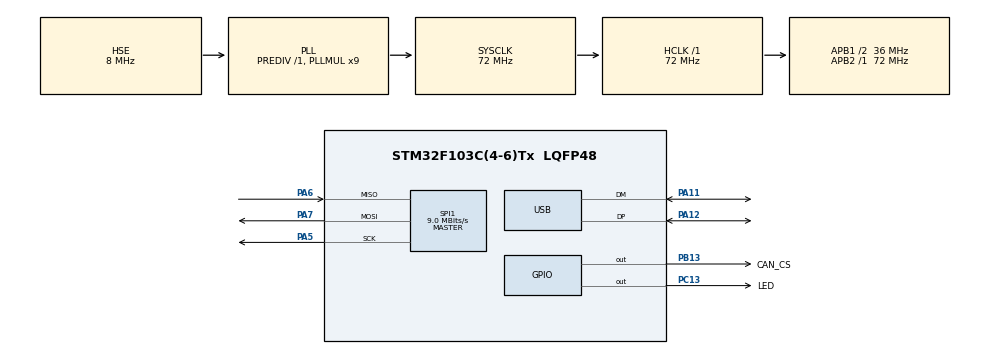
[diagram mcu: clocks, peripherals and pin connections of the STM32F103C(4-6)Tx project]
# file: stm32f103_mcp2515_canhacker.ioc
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Mcu.Family=STM32F1
Mcu.Name=STM32F103C(4-6)Tx
Mcu.Package=LQFP48
NVIC.PriorityGroup=NVIC_PRIORITYGROUP_4
NVIC.USB_LP_CAN1_RX0_IRQn=true\:0\:0\:false\:false\:true\:false\:true\:true
PA11.Mode=Device
PA11.Signal=USB_DM
PA12.Mode=Device
PA12.Signal=USB_DP
PA13.Mode=Serial_Wire
PA13.Signal=SYS_JTMS-SWDIO
PA14.Mode=Serial_Wire
PA14.Signal=SYS_JTCK-SWCLK
PA5.Mode=Full_Duplex_Master
PA5.Signal=SPI1_SCK
PA6.Mode=Full_Duplex_Master
PA6.Signal=SPI1_MISO
PA7.Mode=Full_Duplex_Master
PA7.Signal=SPI1_MOSI
PB13.GPIO_Label=CAN_CS
PB13.GPIO_Speed=GPIO_SPEED_FREQ_HIGH
PB13.Signal=GPIO_Output
PC13-TAMPER-RTC.GPIO_Label=LED
PC13-TAMPER-RTC.Signal=GPIO_Output
PD0-OSC_IN.Mode=HSE-External-Oscillator
PD0-OSC_IN.Signal=RCC_OSC_IN
PD1-OSC_OUT.Mode=HSE-External-Oscillator
PD1-OSC_OUT.Signal=RCC_OSC_OUT
ProjectManager.HeapSize=0x200
ProjectManager.StackSize=0x400
ProjectManager.TargetToolchain=MDK-ARM V5.32
RCC.AHBFreq_Value=72000000
RCC.APB1CLKDivider=RCC_HCLK_DIV2
RCC.APB1Freq_Value=36000000
RCC.APB1TimFreq_Value=72000000
RCC.APB2Freq_Value=72000000
RCC.APB2TimFreq_Value=72000000
RCC.HCLKFreq_Value=72000000
RCC.PLLMUL=RCC_PLL_MUL9
RCC.PLLSourceVirtual=RCC_PLLSOURCE_HSE
RCC.SYSCLKFreq_VALUE=72000000
RCC.SYSCLKSource=RCC_SYSCLKSOURCE_PLLCLK
RCC.USBFreq_Value=48000000
RCC.USBPrescaler=RCC_USBCLKSOURCE_PLL_DIV1_5
SPI1.BaudRatePrescaler=SPI_BAUDRATEPRESCALER_8
SPI1.CLKPolarity=SPI_POLARITY_LOW
SPI1.CalculateBaudRate=9.0 MBits/s
SPI1.Direction=SPI_DIRECTION_2LINES
SPI1.Mode=SPI_MODE_MASTER
SPI1.VirtualType=VM_MASTER
USB_DEVICE.APP_RX_DATA_SIZE=128
USB_DEVICE.APP_TX_DATA_SIZE=128
USB_DEVICE.CLASS_NAME_FS=CDC
USB_DEVICE.CONFIGURATION_STRING_CDC_FS=stm32+mcp2515-CanHacker
USB_DEVICE.INTERFACE_STRING_CDC_FS=stm32+mcp2515-CanHacker
USB_DEVICE.MANUFACTURER_STRING=stm32+mcp2515-CanHacker
USB_DEVICE.PID_CDC_FS=22336
USB_DEVICE.PRODUCT_STRING_CDC_FS=stm32+mcp2515-CanHacker
USB_DEVICE.USBD_SELF_POWERED=0
USB_DEVICE.VirtualMode=Cdc
USB_DEVICE.VirtualModeFS=Cdc_FS
VP_USB_DEVICE_VS_USB_DEVICE_CDC_FS.Mode=CDC_FS
board=custom

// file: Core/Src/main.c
/* USER CODE BEGIN Header */
/**
  ******************************************************************************
  * @file           : main.c
  * @brief          : Main program body
  ******************************************************************************
  * @attention
  * Author Andrei Sedakov / Kam / kam@goldns.ru
	* CanHacker STM32F103C6T6 + MCP2515(via SPI)
	* Tested on CANHacker V2.00.02
  * First commit: 08.04.2022
  ******************************************************************************
  */
/* USER CODE END Header */
#include "main.h"
#include "usb_device.h"

SPI_HandleTypeDef hspi1;

void SystemClock_Config(void);
static void MX_GPIO_Init(void);
static void MX_SPI1_Init(void);

/* USER CODE BEGIN 0 */

//==========================================================================
//==========================================================================
//==========================================================================
#include "usbd_cdc_if.h"
#include "usbd_core.h"
#include "CANSPI.h"
#include "MCP2515.h"
#include "stdio.h"
#include "string.h"
#include "functions.h"

const char hex_asc_upper[] = "0123456789ABCDEF";
char* str_init="INIT: "__DATE__"/"__TIME__"\r\n";  // compilate date/time

// usb recive buffer
#define RX_MAX_SIZE 32
uint8_t usb_rx_buffer[RX_MAX_SIZE]= {0};  //
int usb_rx_buffer_len=0;
char PkgBuff[RX_MAX_SIZE]= {0}; // Send2Uart buffer

// blink settings
uint32_t BlinkDelay=300;
uint32_t last_blink=0;
// can
uCAN_MSG rxMessage;
uCAN_MSG txMessage;
int need_send=0;
bool __loopback__=0;

// canhacker
char V_version[]="V1010\r";
char v_version[]="AT72HW30SW2\r";   // ID need to CAN-Analyzer ( https://www.elektronik-keller.de/index.php/stm32-can-support )
static const char CR2[] = "\r\n";
static const char CR[]  = "\r\0";

int can_init=0;
int speed = 3; //default speed 100kbit

/*
from canhacker
t12380102030405060708
T1234567880102030405060708
r1230
R123456780
*/

void my_error() {
    int iiii=5;
    while(1) {
        HAL_GPIO_TogglePin(LED_GPIO_Port,LED_Pin);
        HAL_Delay(iiii);
        iiii +=5;
        if(iiii==200) {
            iiii=5;
        }
    }
}

void TransmitToSerial(uint8_t* str) {
    CDC_Transmit_FS((unsigned char*)str, strlen((char*)str));
}

void clear_rx_buff() {
    uint8_t i=0;
    while(usb_rx_buffer[i]!='\0') {
        usb_rx_buffer[i]='\0';
        i++;
    }
}

void NeedSendFrame() {
    need_send=0;
    int isExended = 0;
    int isRTR = 0;
    switch (usb_rx_buffer[0]) {
    case 't':
        break;
    case 'T':
        isExended = 1;
        break;
    case 'r':
        isRTR = 1;
        break;
    case 'R':
        isExended = 1;
        isRTR = 1;
        break;
    default:
        return;
    }
    int offset = 1;
    uint32_t frame_id=0;
    int idChars = isExended ? 8 : 3;

    for (int i=0; i<idChars; i++) {
        frame_id <<= 4;
        frame_id += hexCharToByte(usb_rx_buffer[offset++]);
    }

    if (isExended) {
        txMessage.frame.idType = dEXTENDED_CAN_MSG_ID_2_0B;
    } else {
        txMessage.frame.idType = dSTANDARD_CAN_MSG_ID_2_0B;
    }
    //
    txMessage.frame.id=frame_id;
    uint8_t dlc = hexCharToByte(usb_rx_buffer[offset++]);
    if(dlc > 8) return;
    if(dlc < 1) return;

    txMessage.frame.dlc =dlc;

    if (!isRTR) {
        for (int i=0; i<dlc; i++) {
            char hiHex = usb_rx_buffer[offset++];
            char loHex = usb_rx_buffer[offset++];
            txMessage.frame.data[i] = hexCharToByte(loHex) + (hexCharToByte(hiHex) << 4);
        }
    }

    if(can_init == 1) {
        while(CANSPI_Transmit(&txMessage) == 0);
    }
    clear_rx_buff();
}

void ParseRxCommand() {
    switch (usb_rx_buffer[0]) {
    case 'V':
				TransmitToSerial((uint8_t*)V_version);
        break;
    case 'v':
					if(usb_rx_buffer[1]=='Z') {TransmitToSerial((uint8_t*)CR2); return;}
					if(usb_rx_buffer[1]=='C') {TransmitToSerial((uint8_t*)CR2); return;}
					TransmitToSerial((uint8_t*)v_version);
        break;
    case 'C':
        can_init=0;
        TransmitToSerial((uint8_t*)CR);
        break;
    case 'Z':
        can_init=0;
        TransmitToSerial((uint8_t*)CR);
        break;
    case 'S':
        can_init=0;
        sscanf((char*)usb_rx_buffer, "S%d", &speed);
        TransmitToSerial((uint8_t*)CR);
        break;
    case 'O':
        TransmitToSerial((uint8_t*)CR);
        if(CANSPI_Initialize(speed) != true ) {   // default speed 3=100kbit
            my_error();
        }
        can_init=1;
        break;
    case 't':
        need_send=1;
        break;
    case 'T':
        need_send=1;
        break;
    case 'r':
        need_send=1;
        break;
    case 'R':
        need_send=1;
        break;
    case 'm':
        TransmitToSerial((uint8_t*)CR);
        break;
    case 'M':
        TransmitToSerial((uint8_t*)CR);
        break;
    default: // default
        TransmitToSerial((uint8_t*)CR);
    }
    return;
}

void my_blink() {
    if(HAL_GetTick() > (last_blink+BlinkDelay)) {
        HAL_GPIO_TogglePin(LED_GPIO_Port,LED_Pin);
        last_blink=HAL_GetTick();
    }
}

void my_init() {
    if(CANSPI_Initialize(speed) != true ) {
        my_error();
    }
    can_init=1;
    HAL_Delay(50); // need to init CAN!
    TransmitToSerial((uint8_t*)str_init);
}

//// calc pkg
static inline void put_hex_byte(char *buf, uint8_t byte) {
    buf[0] = hex_asc_upper_hi(byte);
    buf[1] = hex_asc_upper_lo(byte);
}
static inline void _put_id(char *buf, int end_offset, uint16_t id) {
    while (end_offset >= 0) {
        buf[end_offset--] = hex_asc_upper[id & 0xF];
        id >>= 4;
    }
}

void SendPkgToUart() {
    if(rxMessage.frame.dlc == 0) return;
    if(rxMessage.frame.dlc > 8) return;
    int _timestampEnabled=1;
    int offset=0;
    int len=rxMessage.frame.dlc;
    //int isRTR = (rxMessage.frame.id & CAN_RTR_FLAG) ? 1 : 0;
    int isRTR=0;

    if (rxMessage.frame.idType == dEXTENDED_CAN_MSG_ID_2_0B) {
        PkgBuff[0] = isRTR ? 'R' : 'T';
        put_eff_id(PkgBuff+1, rxMessage.frame.id);  // notwork? from 0x12345678 => 0x00005678
        offset = 9;
    } else {
        PkgBuff[0] = isRTR ? 'r' : 't';
        put_sff_id(PkgBuff+1, rxMessage.frame.id);
        offset = 4;
    }
    PkgBuff[offset++] = hex_asc_upper_lo(rxMessage.frame.dlc);
    if (!isRTR) {
        int i;
        for (i = 0; i < len; i++) {
            put_hex_byte(PkgBuff + offset, rxMessage.frame.data[i]);
            offset += 2;
        }
    }
    if (_timestampEnabled) {
        uint16_t ts = (HAL_GetTick() % 0xEA60);
        put_hex_byte(PkgBuff + offset, ts >> 8);
        offset += 2;
        put_hex_byte(PkgBuff + offset, ts);
        offset += 2;
    }
    PkgBuff[offset++] = '\r';
    PkgBuff[offset] = '\0';
    TransmitToSerial((uint8_t*)PkgBuff);
    return;
}

void my_loop() {
    if(can_init == 1) {
        if(CANSPI_Receive(&rxMessage)) {
            HAL_GPIO_TogglePin(LED_GPIO_Port,LED_Pin);
            SendPkgToUart();
        }

        if(need_send > 0 ) {
            HAL_GPIO_TogglePin(LED_GPIO_Port,LED_Pin);
            NeedSendFrame();
        }
    }
    if(usb_rx_buffer_len != 0) {
        HAL_GPIO_TogglePin(LED_GPIO_Port,LED_Pin);
        ParseRxCommand();
        usb_rx_buffer_len=0;
    }
    my_blink();
}

//==========================================================================
//==========================================================================
//==========================================================================
/* USER CODE END 0 */

int main(void)
{

    /* MCU Configuration--------------------------------------------------------*/

    /* Reset of all peripherals, Initializes the Flash interface and the Systick. */
    HAL_Init();

    /* Configure the system clock */
    SystemClock_Config();

    /* Initialize all configured peripherals */
    MX_GPIO_Init();
    MX_SPI1_Init();
    MX_USB_DEVICE_Init();
    /* USER CODE BEGIN 2 */
    HAL_Delay(50);
    my_init();
    /* USER CODE END 2 */

    /* Infinite loop */
    /* USER CODE BEGIN WHILE */
    while (1)
    {
        my_loop();
        /* USER CODE END WHILE */

    }
}

void SystemClock_Config(void)
{
    RCC_OscInitTypeDef RCC_OscInitStruct = {0};
    RCC_ClkInitTypeDef RCC_ClkInitStruct = {0};
    RCC_PeriphCLKInitTypeDef PeriphClkInit = {0};

    /** Initializes the RCC Oscillators according to the specified parameters
    * in the RCC_OscInitTypeDef structure.
    */
    RCC_OscInitStruct.OscillatorType = RCC_OSCILLATORTYPE_HSE;
    RCC_OscInitStruct.HSEState = RCC_HSE_ON;
    RCC_OscInitStruct.HSEPredivValue = RCC_HSE_PREDIV_DIV1;
    RCC_OscInitStruct.HSIState = RCC_HSI_ON;
    RCC_OscInitStruct.PLL.PLLState = RCC_PLL_ON;
    RCC_OscInitStruct.PLL.PLLSource = RCC_PLLSOURCE_HSE;
    RCC_OscInitStruct.PLL.PLLMUL = RCC_PLL_MUL9;
    if (HAL_RCC_OscConfig(&RCC_OscInitStruct) != HAL_OK)
    {
        Error_Handler();
    }

    /** Initializes the CPU, AHB and APB buses clocks
    */
    RCC_ClkInitStruct.ClockType = RCC_CLOCKTYPE_HCLK|RCC_CLOCKTYPE_SYSCLK
                                  |RCC_CLOCKTYPE_PCLK1|RCC_CLOCKTYPE_PCLK2;
    RCC_ClkInitStruct.SYSCLKSource = RCC_SYSCLKSOURCE_PLLCLK;
    RCC_ClkInitStruct.AHBCLKDivider = RCC_SYSCLK_DIV1;
    RCC_ClkInitStruct.APB1CLKDivider = RCC_HCLK_DIV2;
    RCC_ClkInitStruct.APB2CLKDivider = RCC_HCLK_DIV1;

    if (HAL_RCC_ClockConfig(&RCC_ClkInitStruct, FLASH_LATENCY_2) != HAL_OK)
    {
        Error_Handler();
    }
    PeriphClkInit.PeriphClockSelection = RCC_PERIPHCLK_USB;
    PeriphClkInit.UsbClockSelection = RCC_USBCLKSOURCE_PLL_DIV1_5;
    if (HAL_RCCEx_PeriphCLKConfig(&PeriphClkInit) != HAL_OK)
    {
        Error_Handler();
    }
}

static void MX_SPI1_Init(void)
{

    /* SPI1 parameter configuration*/
    hspi1.Instance = SPI1;
    hspi1.Init.Mode = SPI_MODE_MASTER;
    hspi1.Init.Direction = SPI_DIRECTION_2LINES;
    hspi1.Init.DataSize = SPI_DATASIZE_8BIT;
    hspi1.Init.CLKPolarity = SPI_POLARITY_LOW;
    hspi1.Init.CLKPhase = SPI_PHASE_1EDGE;
    hspi1.Init.NSS = SPI_NSS_SOFT;
    hspi1.Init.BaudRatePrescaler = SPI_BAUDRATEPRESCALER_8;
    hspi1.Init.FirstBit = SPI_FIRSTBIT_MSB;
    hspi1.Init.TIMode = SPI_TIMODE_DISABLE;
    hspi1.Init.CRCCalculation = SPI_CRCCALCULATION_DISABLE;
    hspi1.Init.CRCPolynomial = 10;
    if (HAL_SPI_Init(&hspi1) != HAL_OK)
    {
        Error_Handler();
    }

}

static void MX_GPIO_Init(void)
{
    GPIO_InitTypeDef GPIO_InitStruct = {0};

    /* GPIO Ports Clock Enable */
    __HAL_RCC_GPIOC_CLK_ENABLE();
    __HAL_RCC_GPIOD_CLK_ENABLE();
    __HAL_RCC_GPIOA_CLK_ENABLE();
    __HAL_RCC_GPIOB_CLK_ENABLE();

    /*Configure GPIO pin Output Level */
    HAL_GPIO_WritePin(LED_GPIO_Port, LED_Pin, GPIO_PIN_RESET);

    /*Configure GPIO pin Output Level */
    HAL_GPIO_WritePin(CAN_CS_GPIO_Port, CAN_CS_Pin, GPIO_PIN_RESET);

    /*Configure GPIO pin : LED_Pin */
    GPIO_InitStruct.Pin = LED_Pin;
    GPIO_InitStruct.Mode = GPIO_MODE_OUTPUT_PP;
    GPIO_InitStruct.Pull = GPIO_NOPULL;
    GPIO_InitStruct.Speed = GPIO_SPEED_FREQ_LOW;
    HAL_GPIO_Init(LED_GPIO_Port, &GPIO_InitStruct);

    /*Configure GPIO pins : PC14 PC15 */
    GPIO_InitStruct.Pin = GPIO_PIN_14|GPIO_PIN_15;
    GPIO_InitStruct.Mode = GPIO_MODE_ANALOG;
    HAL_GPIO_Init(GPIOC, &GPIO_InitStruct);

    /*Configure GPIO pins : PA0 PA1 PA2 PA3
                             PA4 PA8 PA9 PA10
                             PA15 */
    GPIO_InitStruct.Pin = GPIO_PIN_0|GPIO_PIN_1|GPIO_PIN_2|GPIO_PIN_3
                          |GPIO_PIN_4|GPIO_PIN_8|GPIO_PIN_9|GPIO_PIN_10
                          |GPIO_PIN_15;
    GPIO_InitStruct.Mode = GPIO_MODE_ANALOG;
    HAL_GPIO_Init(GPIOA, &GPIO_InitStruct);

    /*Configure GPIO pins : PB0 PB1 PB2 PB10
                             PB11 PB12 PB14 PB15
                             PB3 PB4 PB5 PB6
                             PB7 PB8 PB9 */
    GPIO_InitStruct.Pin = GPIO_PIN_0|GPIO_PIN_1|GPIO_PIN_2|GPIO_PIN_10
                          |GPIO_PIN_11|GPIO_PIN_12|GPIO_PIN_14|GPIO_PIN_15
                          |GPIO_PIN_3|GPIO_PIN_4|GPIO_PIN_5|GPIO_PIN_6
                          |GPIO_PIN_7|GPIO_PIN_8|GPIO_PIN_9;
    GPIO_InitStruct.Mode = GPIO_MODE_ANALOG;
    HAL_GPIO_Init(GPIOB, &GPIO_InitStruct);

    /*Configure GPIO pin : CAN_CS_Pin */
    GPIO_InitStruct.Pin = CAN_CS_Pin;
    GPIO_InitStruct.Mode = GPIO_MODE_OUTPUT_PP;
    GPIO_InitStruct.Pull = GPIO_NOPULL;
    GPIO_InitStruct.Speed = GPIO_SPEED_FREQ_HIGH;
    HAL_GPIO_Init(CAN_CS_GPIO_Port, &GPIO_InitStruct);

}

void Error_Handler(void)
{
    /* USER CODE BEGIN Error_Handler_Debug */
    /* User can add his own implementation to report the HAL error return state */
    __disable_irq();
    my_error();
    while (1)
    {
    }
    /* USER CODE END Error_Handler_Debug */
}
